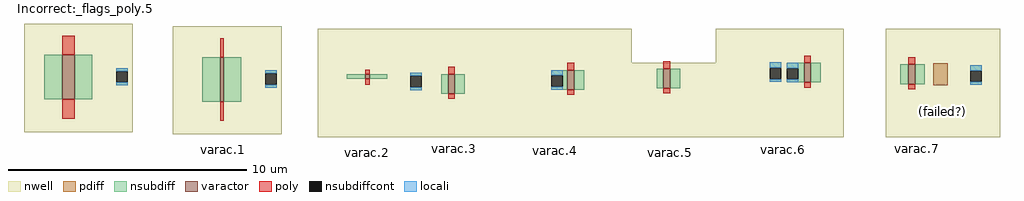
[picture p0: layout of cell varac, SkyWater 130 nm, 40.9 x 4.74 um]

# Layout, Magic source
magic
tech sky130A
magscale 1 2
<< nwell >>
rect 879 452 1792 1358
rect 2127 433 3040 1339
rect 3341 1032 5972 1317
rect 6674 1032 7747 1317
rect 3341 411 7747 1032
rect 8102 411 9058 1317
<< varactor >>
rect 1199 726 1306 1099
rect 2524 707 2554 1080
rect 3737 901 3777 937
rect 4433 774 4490 938
rect 5433 808 5490 972
rect 6238 821 6295 985
rect 7417 868 7474 1032
rect 8289 855 8346 1019
<< pdiff >>
rect 8500 843 8621 1029
<< nsubdiff >>
rect 1047 726 1199 1099
rect 1306 726 1450 1099
rect 1653 964 1749 989
rect 1653 844 1749 869
rect 2372 707 2524 1080
rect 2554 707 2698 1080
rect 2901 945 2997 970
rect 3585 901 3737 937
rect 3777 901 3921 937
rect 4115 923 4211 948
rect 7130 992 7226 1036
rect 2901 825 2997 850
rect 4115 803 4211 828
rect 4376 774 4433 938
rect 4490 774 4572 938
rect 5299 928 5433 972
rect 5395 833 5433 928
rect 5299 808 5433 833
rect 5490 808 5572 972
rect 6181 821 6238 985
rect 6295 821 6377 985
rect 7130 872 7226 897
rect 7271 988 7417 1032
rect 7367 893 7417 988
rect 7271 868 7417 893
rect 7474 868 7556 1032
rect 8223 855 8289 1019
rect 8346 855 8428 1019
rect 8808 967 8904 1011
rect 8808 847 8904 872
<< nsubdiffcont >>
rect 1653 869 1749 964
rect 2901 850 2997 945
rect 4115 828 4211 923
rect 5299 833 5395 928
rect 7130 897 7226 992
rect 7271 893 7367 988
rect 8808 872 8904 967
<< poly >>
rect 1199 1099 1306 1259
rect 2524 1080 2554 1240
rect 1199 566 1306 726
rect 3737 937 3777 975
rect 4433 938 4490 999
rect 5433 972 5490 1033
rect 6238 985 6295 1046
rect 7417 1032 7474 1093
rect 3737 848 3777 901
rect 8289 1019 8346 1080
rect 7417 825 7474 868
rect 4433 731 4490 774
rect 5433 765 5490 808
rect 6238 778 6295 821
rect 8289 812 8346 855
rect 2524 547 2554 707
<< locali >>
rect 7130 992 7226 1036
rect 1653 964 1749 989
rect 1653 844 1749 869
rect 2901 945 2997 970
rect 2901 825 2997 850
rect 4115 923 4211 948
rect 4115 803 4211 828
rect 5299 928 5395 972
rect 7130 872 7226 897
rect 7271 988 7367 1032
rect 7271 868 7367 893
rect 8808 967 8904 1011
rect 8808 847 8904 872
rect 5299 808 5395 833
<< labels >>
flabel comment s 1390 1492 1396 1492 0 FreeSans 560 0 0 0 Incorrect:_flags_poly.5
flabel comment s 2547 304 2547 304 0 FreeSans 560 0 0 0 varac.1
flabel comment s 292 2248 292 2248 0 FreeSans 800 0 0 0 Varactor_(varac)
flabel comment s 3761 282 3761 282 0 FreeSans 560 0 0 0 varac.2
flabel comment s 1626 2208 1626 2208 0 FreeSans 560 0 0 0 Use_cif_see_NPLUS
flabel comment s 3202 2218 3202 2218 0 FreeSans 560 0 0 0 Use_cif_see_HVTP
flabel comment s 4483 311 4483 311 0 FreeSans 560 0 0 0 varac.3
flabel comment s 5329 297 5329 297 0 FreeSans 560 0 0 0 varac.4
flabel comment s 6299 283 6299 283 0 FreeSans 560 0 0 0 varac.5
flabel comment s 7243 309 7243 309 0 FreeSans 560 0 0 0 varac.6
flabel comment s 8369 315 8369 315 0 FreeSans 560 0 0 0 varac.7
flabel comment s -23 575 -17 575 0 FreeSans 560 0 0 0 Correct_by_design
flabel comment s -15 1143 -9 1143 0 FreeSans 560 0 0 0 Not_Implemented
flabel comment s -112 1013 -112 1013 0 FreeSans 560 0 0 0 varac.8
flabel comment s 8576 627 8576 627 0 FreeSans 560 0 0 0 (failed?)
<< end >>
